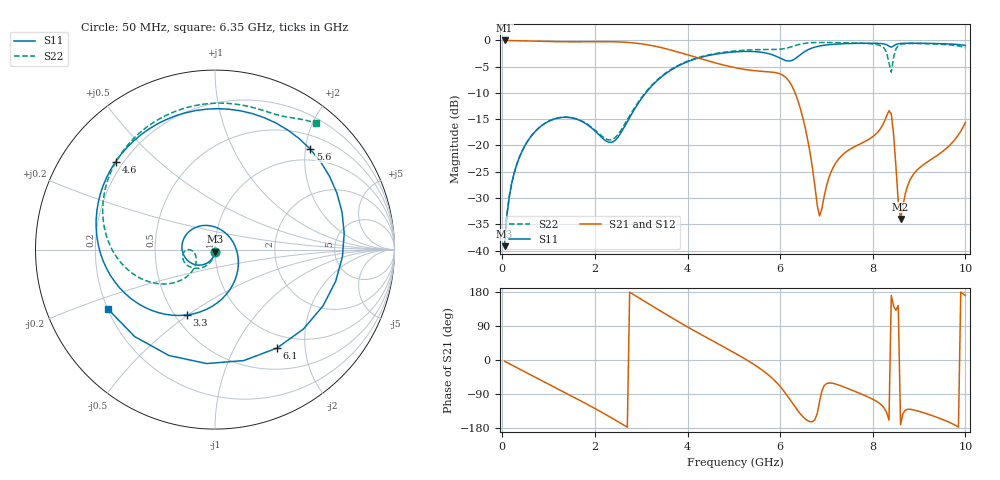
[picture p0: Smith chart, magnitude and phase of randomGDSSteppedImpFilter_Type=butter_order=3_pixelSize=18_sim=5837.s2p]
! freq	dB(S11)	phase(S11)	dB(S12)	phase(S12)
!  dB(S21)	phase(S21)	dB(S22)	phase(S22)
!S-par simulation data
#  GHz  S  DB  R 50
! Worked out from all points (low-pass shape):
!   200 points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, 50 MHz to 10 GHz, reference 50 ohm
!   highest |S21| = -0.01 dB at 50 MHz (marker M1); lowest = -34.0 dB at 8.6 GHz (marker M2)
!   |S21| within 3 dB of the highest: start of sweep to 4.101 GHz
!   lowest |S11| = -39.2 dB at 50 MHz (marker M3), VSWR 1.02, Z = 49.9 - j1.1 ohm
!   |S11| at or under -10 dB: start of sweep to 3.097 GHz
!   |S22| runs from -39.2 to -0.4 dB; largest |S21 - S12| = 0
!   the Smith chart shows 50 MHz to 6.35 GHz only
!   S11 on the Smith chart (normalised r, x): 50 MHz: 1.00, -0.02; 3.3 GHz: 0.57, -0.49; 4.6 GHz: 0.17, +0.37; 5.6 GHz: 0.76, +2.10; 6.1 GHz: 0.79, -1.50; 6.35 GHz: 0.20, -0.25
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0.05  -39.17 -92.1  -0.01 -3.3  -0.01 -3.3  -39.17 -91.2
0.2  -27.34 -104.1  -0.03 -12.9  -0.03 -12.9  -27.33 -101.2
0.55  -19.14 -129.8  -0.10 -35.3  -0.10 -35.3  -19.12 -121.5
1.75  -15.57 133.9  -0.26 -111.4  -0.26 -111.4  -15.50 -177.3
2.6  -17.02 -22.9  -0.32 -170.0  -0.32 -170.0  -16.58 -139.7
3.3  -8.02 -113.4  -1.11 137.9  -1.11 137.9  -7.89 -153.3
3.4  -7.22 -122.9  -1.30 130.4  -1.30 130.4  -7.09 -158.5
4.05  -3.88 -178.5  -2.87 83.8  -2.87 83.8  -3.79 164.7
4.6  -2.62 138.4  -4.28 46.7  -4.28 46.7  -2.51 134.0
5.05  -2.16 102.2  -5.22 16.4  -5.22 16.4  -1.98 110.2
5.6  -2.26 46.5  -5.88 -25.5  -5.88 -25.5  -1.74 82.8
5.9  -2.96 -3.1  -6.13 -56.7  -6.13 -56.7  -1.71 69.7
6.1  -3.77 -57.9  -6.89 -85.3  -6.89 -85.3  -1.54 62.2
6.35  -3.31 -151.1  -10.61 -128.6  -10.61 -128.6  -0.91 51.5
6.7  -1.41 119.6  -24.44 -162.6  -24.44 -162.6  -0.43 32.0
6.85  -1.06 97.0  -33.42 -110.7  -33.42 -110.7  -0.40 24.0
7.45  -0.60 40.6  -21.05 -74.7  -21.05 -74.7  -0.45 -5.3
8.35  -1.09 -13.0  -13.37 -158.5  -13.37 -158.5  -4.31 -55.9
8.45  -1.03 -13.0  -17.98 142.1  -17.98 142.1  -3.19 -24.1
8.6  -0.59 -20.8  -34.02 -170.9  -34.02 -170.9  -0.78 -40.4
8.85  -0.53 -32.8  -25.86 -130.9  -25.86 -130.9  -0.58 -55.7
10  -0.98 -81.7  -15.63 169.9  -15.63 169.9  -1.41 -110.0
